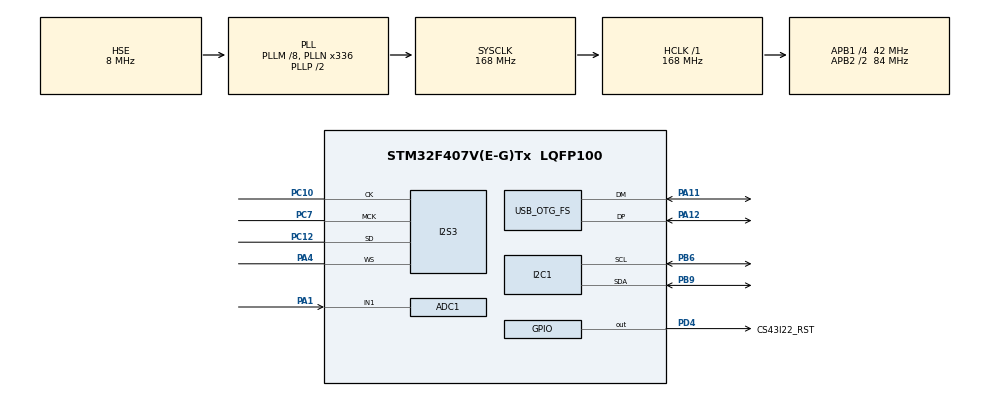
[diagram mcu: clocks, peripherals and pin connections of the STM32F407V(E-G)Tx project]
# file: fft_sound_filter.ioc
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ADC1.Channel-0\#ChannelRegularConversion=ADC_CHANNEL_1
ADC1.ClockPrescaler=ADC_CLOCK_SYNC_PCLK_DIV4
ADC1.ExternalTrigConv=ADC_EXTERNALTRIGCONV_T2_TRGO
ADC1.NbrOfConversionFlag=1
ADC1.Rank-0\#ChannelRegularConversion=1
ADC1.SamplingTime-0\#ChannelRegularConversion=ADC_SAMPLETIME_15CYCLES
ADC1.master=1
Dma.ADC1.1.Direction=DMA_PERIPH_TO_MEMORY
Dma.ADC1.1.FIFOMode=DMA_FIFOMODE_DISABLE
Dma.ADC1.1.Instance=DMA2_Stream0
Dma.ADC1.1.MemDataAlignment=DMA_MDATAALIGN_HALFWORD
Dma.ADC1.1.MemInc=DMA_MINC_ENABLE
Dma.ADC1.1.Mode=DMA_CIRCULAR
Dma.ADC1.1.PeriphDataAlignment=DMA_PDATAALIGN_HALFWORD
Dma.ADC1.1.PeriphInc=DMA_PINC_DISABLE
Dma.ADC1.1.Priority=DMA_PRIORITY_HIGH
Dma.Request0=SPI3_TX
Dma.Request1=ADC1
Dma.SPI3_TX.0.Direction=DMA_MEMORY_TO_PERIPH
Dma.SPI3_TX.0.FIFOMode=DMA_FIFOMODE_DISABLE
Dma.SPI3_TX.0.Instance=DMA1_Stream5
Dma.SPI3_TX.0.MemDataAlignment=DMA_MDATAALIGN_HALFWORD
Dma.SPI3_TX.0.MemInc=DMA_MINC_ENABLE
Dma.SPI3_TX.0.Mode=DMA_CIRCULAR
Dma.SPI3_TX.0.PeriphDataAlignment=DMA_PDATAALIGN_HALFWORD
Dma.SPI3_TX.0.PeriphInc=DMA_PINC_DISABLE
Dma.SPI3_TX.0.Priority=DMA_PRIORITY_HIGH
I2S3.AudioFreq=I2S_AUDIOFREQ_48K
I2S3.ErrorAudioFreq=-2.34 %
I2S3.FullDuplexMode=I2S_FULLDUPLEXMODE_DISABLE
I2S3.Instance=SPI$Index
I2S3.RealAudioFreq=46.875 KHz
I2S3.VirtualMode=I2S_MODE_MASTER
Mcu.Family=STM32F4
Mcu.Name=STM32F407V(E-G)Tx
Mcu.Package=LQFP100
NVIC.DMA1_Stream5_IRQn=true\:0\:0\:false\:false\:true\:false\:true\:true
NVIC.DMA2_Stream0_IRQn=true\:0\:0\:false\:false\:true\:false\:true\:true
NVIC.I2C1_ER_IRQn=true\:0\:0\:false\:false\:true\:true\:true\:true
NVIC.I2C1_EV_IRQn=true\:0\:0\:false\:false\:true\:true\:true\:true
NVIC.OTG_FS_IRQn=true\:5\:0\:true\:false\:true\:true\:true\:true
NVIC.PriorityGroup=NVIC_PRIORITYGROUP_4
NVIC.TIM2_IRQn=true\:0\:0\:false\:false\:true\:true\:true\:true
PA1.Signal=ADCx_IN1
PA11.Mode=Device_Only
PA11.Signal=USB_OTG_FS_DM
PA12.Mode=Device_Only
PA12.Signal=USB_OTG_FS_DP
PA13.Mode=Serial_Wire
PA13.Signal=SYS_JTMS-SWDIO
PA14.Mode=Serial_Wire
PA14.Signal=SYS_JTCK-SWCLK
PA4.Mode=Half_Duplex_Master
PA4.Signal=I2S3_WS
PB6.Mode=I2C
PB6.Signal=I2C1_SCL
PB9.Mode=I2C
PB9.Signal=I2C1_SDA
PC10.Mode=Half_Duplex_Master
PC10.Signal=I2S3_CK
PC12.Mode=Half_Duplex_Master
PC12.Signal=I2S3_SD
PC7.Mode=Master_Clock_Activated
PC7.Signal=I2S3_MCK
PD4.GPIO_Label=CS43l22_RST
PD4.Signal=GPIO_Output
PH0-OSC_IN.Mode=HSE-External-Oscillator
PH0-OSC_IN.Signal=RCC_OSC_IN
PH1-OSC_OUT.Mode=HSE-External-Oscillator
PH1-OSC_OUT.Signal=RCC_OSC_OUT
ProjectManager.HeapSize=0x200
ProjectManager.StackSize=0x400
ProjectManager.TargetToolchain=Makefile
RCC.48MHZClocksFreq_Value=48000000
RCC.AHBFreq_Value=168000000
RCC.APB1CLKDivider=RCC_HCLK_DIV4
RCC.APB1Freq_Value=42000000
RCC.APB1TimFreq_Value=84000000
RCC.APB2CLKDivider=RCC_HCLK_DIV2
RCC.APB2Freq_Value=84000000
RCC.APB2TimFreq_Value=168000000
RCC.CortexFreq_Value=168000000
RCC.HCLKFreq_Value=168000000
RCC.HSE_VALUE=8000000
RCC.HSI_VALUE=16000000
RCC.LSE_VALUE=32768
RCC.PLLM=8
RCC.PLLN=336
RCC.PLLQ=7
RCC.SYSCLKFreq_VALUE=168000000
RCC.SYSCLKSource=RCC_SYSCLKSOURCE_PLLCLK
RCC.VCOOutputFreq_Value=336000000
SH.ADCx_IN1.0=ADC1_IN1,IN1
TIM2.Period=1791
TIM2.TIM_MasterOutputTrigger=TIM_TRGO_UPDATE
USB_OTG_FS.VirtualMode=Device_Only
VP_TIM2_VS_ClockSourceINT.Mode=Internal
board=custom

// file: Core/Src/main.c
/* USER CODE BEGIN Header */
/**
  ******************************************************************************
  * @file           : main.c
  * @brief          : Main program body - Real-time audio processing system
  ******************************************************************************
  * @attention
  *
  * Copyright (c) 2025 STMicroelectronics.
  * All rights reserved.
  *
  * This software is licensed under terms that can be found in the LICENSE file
  * in the root directory of this software component.
  * If no LICENSE file comes with this software, it is provided AS-IS.
  ******************************************************************************
  */
/* USER CODE END Header */

#include "main.h"

/* USER CODE BEGIN Includes */
#include "cs43l22.h"
#include "audio_processing.h"
#include <string.h>
/* USER CODE END Includes */

ADC_HandleTypeDef hadc1;
DMA_HandleTypeDef hdma_adc1;

I2C_HandleTypeDef hi2c1;

I2S_HandleTypeDef hi2s3;
DMA_HandleTypeDef hdma_spi3_tx;

TIM_HandleTypeDef htim2;

PCD_HandleTypeDef hpcd_USB_OTG_FS;

/* USER CODE BEGIN PV */
// DMA buffers - aligned for optimal performance, volatile for DMA safety
__attribute__((aligned(4))) volatile uint16_t adc_buffer[HOP_SIZE * 2];
__attribute__((aligned(4))) volatile int16_t i2s_buffer[HOP_SIZE * 2 * 2];

// DMA completion flags
volatile uint8_t adc_half_ready = 0;
volatile uint8_t adc_full_ready = 0;
volatile uint8_t i2s_half_ready = 0;
volatile uint8_t i2s_full_ready = 0;

volatile uint32_t error_flags = 0;
#define ERROR_CODEC_INIT    (1 << 0)
#define ERROR_AUDIO_INIT    (1 << 1)
#define ERROR_ADC_START     (1 << 2)
#define ERROR_I2S_START     (1 << 3)
#define ERROR_TIM_START     (1 << 4)
/* USER CODE END PV */

void SystemClock_Config(void);
static void MX_GPIO_Init(void);
static void MX_DMA_Init(void);
static void MX_I2C1_Init(void);
static void MX_I2S3_Init(void);
static void MX_ADC1_Init(void);
static void MX_TIM2_Init(void);
static void MX_USB_OTG_FS_PCD_Init(void);

/* USER CODE BEGIN 0 */

/**
  * @brief  ADC DMA half-transfer complete callback
  * @param  hadc: ADC handle
  * @note   First half of ADC buffer is ready (samples 0 to HOP_SIZE-1)
  */
void HAL_ADC_ConvHalfCpltCallback(ADC_HandleTypeDef* hadc)
{
    adc_half_ready = 1;
}

/**
  * @brief  ADC DMA full-transfer complete callback
  * @param  hadc: ADC handle
  * @note   Second half of ADC buffer is ready (samples HOP_SIZE to 2*HOP_SIZE-1)
  */
void HAL_ADC_ConvCpltCallback(ADC_HandleTypeDef* hadc)
{
    adc_full_ready = 1;
}

/**
  * @brief  I2S DMA half-transfer complete callback
  * @param  hi2s: I2S handle
  * @note   First half of I2S buffer has been transmitted, safe to write new data
  */
void HAL_I2S_TxHalfCpltCallback(I2S_HandleTypeDef *hi2s)
{
    i2s_half_ready = 1;
}

/**
  * @brief  I2S DMA full-transfer complete callback
  * @param  hi2s: I2S handle
  * @note   Second half of I2S buffer has been transmitted, safe to write new data
  */
void HAL_I2S_TxCpltCallback(I2S_HandleTypeDef *hi2s)
{
    i2s_full_ready = 1;
}

/* USER CODE END 0 */

int main(void)
{

  /* MCU Configuration--------------------------------------------------------*/

  /* Reset of all peripherals, Initializes the Flash interface and the Systick. */
  HAL_Init();

  /* Configure the system clock */
  SystemClock_Config();

  /* Initialize all configured peripherals */
  MX_GPIO_Init();
  MX_DMA_Init();
  MX_I2C1_Init();
  MX_I2S3_Init();
  MX_ADC1_Init();
  MX_TIM2_Init();
  MX_USB_OTG_FS_PCD_Init();
  /* USER CODE BEGIN 2 */

  CS43L22_Reset();
  HAL_Delay(10);

  if (CS43L22_Init() != CS43L22_OK)
  {
      error_flags |= ERROR_CODEC_INIT;
      Error_Handler();
  }

  if (Audio_Init() != AUDIO_OK)
  {
      error_flags |= ERROR_AUDIO_INIT;
      Error_Handler();  // Fatal error - cannot process audio
  }

  memset((void*)adc_buffer, 0, sizeof(adc_buffer));
  memset((void*)i2s_buffer, 0, sizeof(i2s_buffer));

  if (HAL_ADC_Start_DMA(&hadc1, (uint32_t*)adc_buffer, HOP_SIZE * 2) != HAL_OK)
  {
      error_flags |= ERROR_ADC_START;
      Error_Handler();
  }

  if (HAL_TIM_Base_Start(&htim2) != HAL_OK)
  {
      error_flags |= ERROR_TIM_START;
      Error_Handler();
  }

  if (HAL_I2S_Transmit_DMA(&hi2s3, (uint16_t*)i2s_buffer, HOP_SIZE * 2 * 2) != HAL_OK)
  {
      error_flags |= ERROR_I2S_START;
      Error_Handler();
  }

  /* USER CODE END 2 */

  /* Infinite loop */
  /* USER CODE BEGIN WHILE */
  while (1)
  {
      if (i2s_half_ready && adc_half_ready)
      {
          __disable_irq();
          i2s_half_ready = 0;
          adc_half_ready = 0;
          __enable_irq();

          Audio_ProcessBlock((uint16_t*)&adc_buffer[0],
                            (int16_t*)&i2s_buffer[0]);
      }

      if (i2s_full_ready && adc_full_ready)
      {
          i2s_full_ready = 0;
          adc_full_ready = 0;

          Audio_ProcessBlock((uint16_t*)&adc_buffer[HOP_SIZE],
                            (int16_t*)&i2s_buffer[HOP_SIZE * 2]);
      }

    /* USER CODE END WHILE */

  }
}

void SystemClock_Config(void)
{
  RCC_OscInitTypeDef RCC_OscInitStruct = {0};
  RCC_ClkInitTypeDef RCC_ClkInitStruct = {0};

  /** Configure the main internal regulator output voltage
  */
  __HAL_RCC_PWR_CLK_ENABLE();
  __HAL_PWR_VOLTAGESCALING_CONFIG(PWR_REGULATOR_VOLTAGE_SCALE1);

  /** Initializes the RCC Oscillators according to the specified parameters
  * in the RCC_OscInitTypeDef structure.
  */
  RCC_OscInitStruct.OscillatorType = RCC_OSCILLATORTYPE_HSE;
  RCC_OscInitStruct.HSEState = RCC_HSE_ON;
  RCC_OscInitStruct.PLL.PLLState = RCC_PLL_ON;
  RCC_OscInitStruct.PLL.PLLSource = RCC_PLLSOURCE_HSE;
  RCC_OscInitStruct.PLL.PLLM = 8;
  RCC_OscInitStruct.PLL.PLLN = 336;
  RCC_OscInitStruct.PLL.PLLP = RCC_PLLP_DIV2;
  RCC_OscInitStruct.PLL.PLLQ = 7;
  if (HAL_RCC_OscConfig(&RCC_OscInitStruct) != HAL_OK)
  {
    Error_Handler();
  }

  /** Initializes the CPU, AHB and APB buses clocks
  */
  RCC_ClkInitStruct.ClockType = RCC_CLOCKTYPE_HCLK|RCC_CLOCKTYPE_SYSCLK
                              |RCC_CLOCKTYPE_PCLK1|RCC_CLOCKTYPE_PCLK2;
  RCC_ClkInitStruct.SYSCLKSource = RCC_SYSCLKSOURCE_PLLCLK;
  RCC_ClkInitStruct.AHBCLKDivider = RCC_SYSCLK_DIV1;
  RCC_ClkInitStruct.APB1CLKDivider = RCC_HCLK_DIV4;
  RCC_ClkInitStruct.APB2CLKDivider = RCC_HCLK_DIV2;

  if (HAL_RCC_ClockConfig(&RCC_ClkInitStruct, FLASH_LATENCY_5) != HAL_OK)
  {
    Error_Handler();
  }
}

static void MX_ADC1_Init(void)
{

  ADC_ChannelConfTypeDef sConfig = {0};

  /** Configure the global features of the ADC (Clock, Resolution, Data Alignment and number of conversion)
  */
  hadc1.Instance = ADC1;
  hadc1.Init.ClockPrescaler = ADC_CLOCK_SYNC_PCLK_DIV4;
  hadc1.Init.Resolution = ADC_RESOLUTION_12B;
  hadc1.Init.ScanConvMode = DISABLE;
  hadc1.Init.ContinuousConvMode = DISABLE;
  hadc1.Init.DiscontinuousConvMode = DISABLE;
  hadc1.Init.ExternalTrigConvEdge = ADC_EXTERNALTRIGCONVEDGE_RISING;
  hadc1.Init.ExternalTrigConv = ADC_EXTERNALTRIGCONV_T2_TRGO;
  hadc1.Init.DataAlign = ADC_DATAALIGN_RIGHT;
  hadc1.Init.NbrOfConversion = 1;
  hadc1.Init.DMAContinuousRequests = ENABLE;
  hadc1.Init.EOCSelection = ADC_EOC_SINGLE_CONV;
  if (HAL_ADC_Init(&hadc1) != HAL_OK)
  {
    Error_Handler();
  }

  /** Configure for the selected ADC regular channel its corresponding rank in the sequencer and its sample time.
  */
  sConfig.Channel = ADC_CHANNEL_1;
  sConfig.Rank = 1;
  sConfig.SamplingTime = ADC_SAMPLETIME_15CYCLES;
  if (HAL_ADC_ConfigChannel(&hadc1, &sConfig) != HAL_OK)
  {
    Error_Handler();
  }

}

static void MX_I2C1_Init(void)
{

  hi2c1.Instance = I2C1;
  hi2c1.Init.ClockSpeed = 100000;
  hi2c1.Init.DutyCycle = I2C_DUTYCYCLE_2;
  hi2c1.Init.OwnAddress1 = 0;
  hi2c1.Init.AddressingMode = I2C_ADDRESSINGMODE_7BIT;
  hi2c1.Init.DualAddressMode = I2C_DUALADDRESS_DISABLE;
  hi2c1.Init.OwnAddress2 = 0;
  hi2c1.Init.GeneralCallMode = I2C_GENERALCALL_DISABLE;
  hi2c1.Init.NoStretchMode = I2C_NOSTRETCH_DISABLE;
  if (HAL_I2C_Init(&hi2c1) != HAL_OK)
  {
    Error_Handler();
  }

}

static void MX_I2S3_Init(void)
{

  hi2s3.Instance = SPI3;
  hi2s3.Init.Mode = I2S_MODE_MASTER_TX;
  hi2s3.Init.Standard = I2S_STANDARD_PHILIPS;
  hi2s3.Init.DataFormat = I2S_DATAFORMAT_16B;
  hi2s3.Init.MCLKOutput = I2S_MCLKOUTPUT_ENABLE;
  hi2s3.Init.AudioFreq = I2S_AUDIOFREQ_48K;  // PLLI2S 96MHz -> HAL picks div 8 -> actual 46.875kHz
  hi2s3.Init.CPOL = I2S_CPOL_LOW;
  hi2s3.Init.ClockSource = I2S_CLOCK_PLL;
  hi2s3.Init.FullDuplexMode = I2S_FULLDUPLEXMODE_DISABLE;
  if (HAL_I2S_Init(&hi2s3) != HAL_OK)
  {
    Error_Handler();
  }

}

static void MX_TIM2_Init(void)
{

  TIM_ClockConfigTypeDef sClockSourceConfig = {0};
  TIM_MasterConfigTypeDef sMasterConfig = {0};

  htim2.Instance = TIM2;
  htim2.Init.Prescaler = 0;
  htim2.Init.CounterMode = TIM_COUNTERMODE_UP;
  htim2.Init.Period = 1791;  // 84MHz / 1792 = 46.875kHz, matches the real I2S rate (96MHz PLLI2S / 2048)
  htim2.Init.ClockDivision = TIM_CLOCKDIVISION_DIV1;
  htim2.Init.AutoReloadPreload = TIM_AUTORELOAD_PRELOAD_DISABLE;
  if (HAL_TIM_Base_Init(&htim2) != HAL_OK)
  {
    Error_Handler();
  }
  sClockSourceConfig.ClockSource = TIM_CLOCKSOURCE_INTERNAL;
  if (HAL_TIM_ConfigClockSource(&htim2, &sClockSourceConfig) != HAL_OK)
  {
    Error_Handler();
  }
  sMasterConfig.MasterOutputTrigger = TIM_TRGO_UPDATE;
  sMasterConfig.MasterSlaveMode = TIM_MASTERSLAVEMODE_DISABLE;
  if (HAL_TIMEx_MasterConfigSynchronization(&htim2, &sMasterConfig) != HAL_OK)
  {
    Error_Handler();
  }

}

static void MX_USB_OTG_FS_PCD_Init(void)
{

  hpcd_USB_OTG_FS.Instance = USB_OTG_FS;
  hpcd_USB_OTG_FS.Init.dev_endpoints = 4;
  hpcd_USB_OTG_FS.Init.speed = PCD_SPEED_FULL;
  hpcd_USB_OTG_FS.Init.dma_enable = DISABLE;
  hpcd_USB_OTG_FS.Init.phy_itface = PCD_PHY_EMBEDDED;
  hpcd_USB_OTG_FS.Init.Sof_enable = DISABLE;
  hpcd_USB_OTG_FS.Init.low_power_enable = DISABLE;
  hpcd_USB_OTG_FS.Init.lpm_enable = DISABLE;
  hpcd_USB_OTG_FS.Init.vbus_sensing_enable = DISABLE;
  hpcd_USB_OTG_FS.Init.use_dedicated_ep1 = DISABLE;
  if (HAL_PCD_Init(&hpcd_USB_OTG_FS) != HAL_OK)
  {
    Error_Handler();
  }

}

static void MX_DMA_Init(void)
{

  __HAL_RCC_DMA1_CLK_ENABLE();
  __HAL_RCC_DMA2_CLK_ENABLE();

  HAL_NVIC_SetPriority(DMA1_Stream5_IRQn, 0, 0);
  HAL_NVIC_EnableIRQ(DMA1_Stream5_IRQn);
  HAL_NVIC_SetPriority(DMA2_Stream0_IRQn, 0, 0);
  HAL_NVIC_EnableIRQ(DMA2_Stream0_IRQn);

}

static void MX_GPIO_Init(void)
{
  GPIO_InitTypeDef GPIO_InitStruct = {0};

  /* GPIO Ports Clock Enable */
  __HAL_RCC_GPIOH_CLK_ENABLE();
  __HAL_RCC_GPIOA_CLK_ENABLE();
  __HAL_RCC_GPIOC_CLK_ENABLE();
  __HAL_RCC_GPIOD_CLK_ENABLE();
  __HAL_RCC_GPIOB_CLK_ENABLE();

  HAL_GPIO_WritePin(CS43l22_RST_GPIO_Port, CS43l22_RST_Pin, GPIO_PIN_RESET);
  GPIO_InitStruct.Pin = CS43l22_RST_Pin;
  GPIO_InitStruct.Mode = GPIO_MODE_OUTPUT_PP;
  GPIO_InitStruct.Pull = GPIO_NOPULL;
  GPIO_InitStruct.Speed = GPIO_SPEED_FREQ_LOW;
  HAL_GPIO_Init(CS43l22_RST_GPIO_Port, &GPIO_InitStruct);

}

void Error_Handler(void)
{
  /* USER CODE BEGIN Error_Handler_Debug */
  /* Disable interrupts and halt */
  __disable_irq();
  while (1)
  {
      /* Optional: Blink LED to indicate error state */

  }
  /* USER CODE END Error_Handler_Debug */
}
